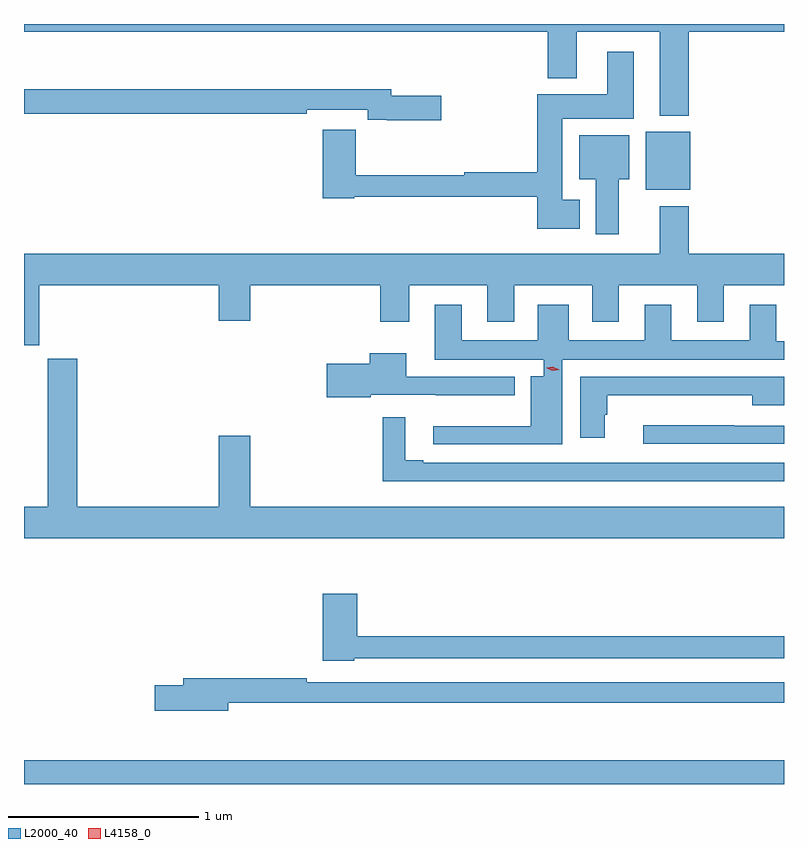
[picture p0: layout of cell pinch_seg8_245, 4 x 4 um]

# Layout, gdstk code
import gdstk
lib = gdstk.Library(unit=1e-6, precision=1e-09)
def R(c, l, rs):  # rectangles x0, y0, x1, y1
    for r in rs: c.add(gdstk.rectangle(r[:2], r[2:], *l))
def P(c, l, *ps):  # polygons
    for p in ps: c.add(gdstk.Polygon(p, *l))
L2000_40 = (2000, 40)
L4158_0 = (4158, 0)

pinch_seg8_245 = lib.new_cell('pinch_seg8_245')
R(pinch_seg8_245, L2000_40, [(811.334,1115.206,815.334,1115.332), (814.607,1118.333,814.84,1118.638)])
P(pinch_seg8_245, L2000_40, [(814.832,1119.164),(815.334,1119.164),(815.334,1119.206),(811.334,1119.206),(811.334,1119.164),(814.091,1119.164),(814.091,1118.921),(814.243,1118.921),(814.243,1119.164),(814.679,1119.164),(814.679,1118.723),(814.832,1118.723)],
  [(814.258,1118.281),(814.168,1118.281),(814.168,1118.708),(814.543,1118.708),(814.543,1119.061),(814.403,1119.061),(814.403,1118.836),(814.034,1118.836),(814.034,1118.426),(813.65,1118.426),(813.65,1118.411),(813.081,1118.411),(813.081,1118.649),(812.906,1118.649),(812.906,1118.29),(813.072,1118.29),(813.072,1118.298),(814.034,1118.298),(814.034,1118.129),(814.258,1118.129)],
  [(813.529,1118.829),(813.268,1118.829),(813.268,1118.863),(811.334,1118.863),(811.334,1118.734),(812.822,1118.734),(812.822,1118.754),(813.142,1118.754),(813.142,1118.702),(813.244,1118.702),(813.244,1118.699),(813.529,1118.699)],
  [(814.465,1118.39),(814.519,1118.39),(814.519,1118.62),(814.256,1118.62),(814.256,1118.39),(814.343,1118.39),(814.343,1118.1),(814.465,1118.1)],
  [(811.414,1117.832),(812.36,1117.832),(812.36,1117.644),(812.524,1117.644),(812.524,1117.832),(813.209,1117.832),(813.209,1117.638),(813.361,1117.638),(813.361,1117.832),(813.773,1117.832),(813.773,1117.638),(813.913,1117.638),(813.913,1117.832),(814.325,1117.832),(814.325,1117.638),(814.465,1117.638),(814.465,1117.832),(814.877,1117.832),(814.877,1117.638),(815.017,1117.638),(815.017,1117.832),(815.334,1117.832),(815.334,1117.996),(814.832,1117.996),(814.832,1118.248),(814.679,1118.248),(814.679,1117.996),(811.334,1117.996),(811.334,1117.515),(811.414,1117.515)],
  [(814.168,1117.44),(815.334,1117.44),(815.334,1117.536),(815.293,1117.536),(815.293,1117.729),(815.153,1117.729),(815.153,1117.541),(814.741,1117.541),(814.741,1117.729),(814.601,1117.729),(814.601,1117.541),(814.201,1117.541),(814.201,1117.729),(814.037,1117.729),(814.037,1117.541),(813.637,1117.541),(813.637,1117.729),(813.497,1117.729),(813.497,1117.44),(814.07,1117.44),(814.07,1117.351),(814.001,1117.351),(814.001,1117.09),(813.489,1117.09),(813.489,1116.993),(814.168,1116.993)],
  [(813.159,1117.254),(813.501,1117.254),(813.501,1117.253),(813.916,1117.253),(813.916,1117.35),(813.346,1117.35),(813.346,1117.474),(813.155,1117.474),(813.155,1117.419),(812.928,1117.419),(812.928,1117.241),(813.159,1117.241)],
  [(815.334,1116.664),(812.524,1116.664),(812.524,1117.039),(812.36,1117.039),(812.36,1116.664),(811.613,1116.664),(811.613,1117.443),(811.46,1117.443),(811.46,1116.664),(811.334,1116.664),(811.334,1116.5),(815.334,1116.5)],
  [(814.39,1117.149),(814.403,1117.149),(814.403,1117.253),(815.168,1117.253),(815.168,1117.199),(815.334,1117.199),(815.334,1117.35),(814.262,1117.35),(814.262,1117.029),(814.39,1117.029)],
  [(815.334,1116.897),(814.505,1116.897),(814.505,1116.898),(814.266,1116.898),(814.266,1116.897),(813.436,1116.897),(813.436,1116.91),(813.34,1116.91),(813.34,1117.135),(813.223,1117.135),(813.223,1116.8),(815.334,1116.8)],
  [(815.334,1117.092),(815.072,1117.092),(815.072,1117.093),(814.593,1117.093),(814.593,1116.996),(815.334,1116.996)],
  [(813.072,1115.868),(815.334,1115.868),(815.334,1115.984),(813.089,1115.984),(813.089,1116.208),(812.906,1116.208),(812.906,1115.855),(813.072,1115.855)],
  [(812.41,1115.634),(815.334,1115.634),(815.334,1115.742),(812.822,1115.742),(812.822,1115.762),(812.171,1115.762),(812.171,1115.726),(812.022,1115.726),(812.022,1115.591),(812.41,1115.591)])
P(pinch_seg8_245, L4158_0, [(814.115,1117.381),(814.083,1117.396),(814.083,1117.396),(814.083,1117.396),(814.118,1117.401),(814.151,1117.386),(814.151,1117.385),(814.151,1117.385)])

lib.write_gds('pinch_seg8_245.gds')
